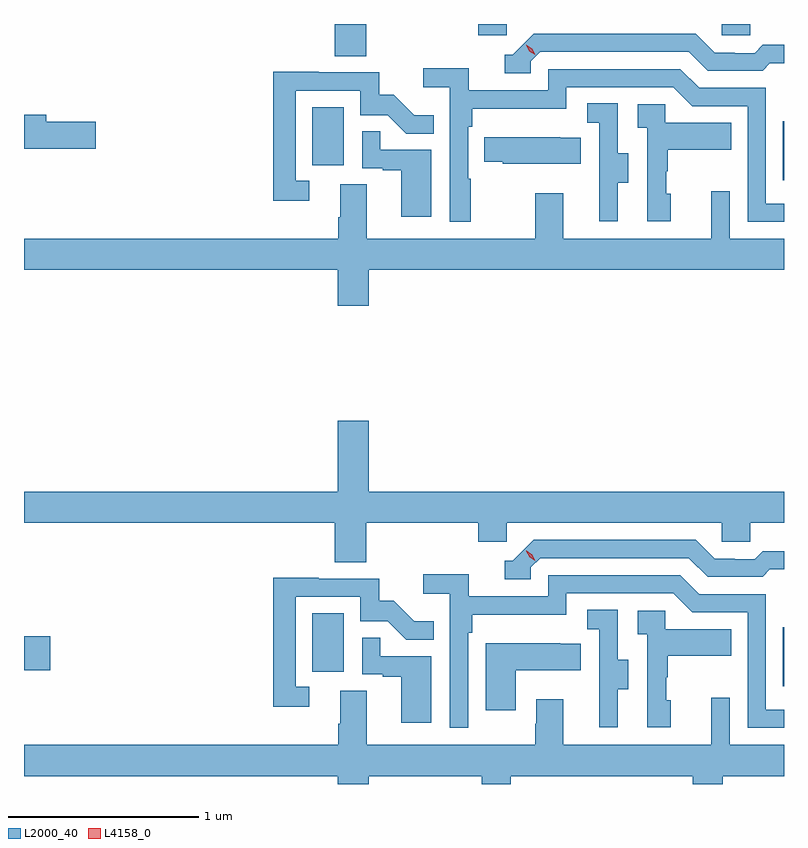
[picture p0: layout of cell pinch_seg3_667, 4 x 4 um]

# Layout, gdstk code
import gdstk
lib = gdstk.Library(unit=1e-6, precision=1e-09)
def R(c, l, rs):  # rectangles x0, y0, x1, y1
    for r in rs: c.add(gdstk.rectangle(r[:2], r[2:], *l))
def P(c, l, *ps):  # polygons
    for p in ps: c.add(gdstk.Polygon(p, *l))
L2000_40 = (2000, 40)
L4158_0 = (4158, 0)

pinch_seg3_667 = lib.new_cell('pinch_seg3_667')
R(pinch_seg3_667, L2000_40, [(1144.374,670.752,1144.38,671.062), (1141.898,670.83,1142.062,671.137), (1140.38,670.838,1140.517,671.015), (1144.374,673.416,1144.38,673.726), (1141.898,673.494,1142.062,673.801), (1142.015,674.068,1142.18,674.238), (1142.771,674.178,1142.922,674.238), (1144.053,674.178,1144.203,674.238)])
P(pinch_seg3_667, L2000_40, [(1143.048,674.043),(1143.096,674.091),(1143.879,674.091),(1143.978,673.992),(1144.267,673.992),(1144.306,674.031),(1144.38,674.031),(1144.38,674.128),(1144.267,674.128),(1144.225,674.085),(1144.122,674.085),(1144.122,674.088),(1144.015,674.088),(1143.916,674.187),(1143.063,674.187),(1142.952,674.076),(1142.909,674.076),(1142.909,673.98),(1143.048,673.98)],
  [(1142.731,673.424),(1142.718,673.424),(1142.718,673.697),(1142.738,673.697),(1142.738,673.793),(1143.234,673.793),(1143.234,673.905),(1143.798,673.905),(1143.897,673.806),(1144.188,673.806),(1144.188,673.197),(1144.38,673.197),(1144.38,673.293),(1144.284,673.293),(1144.284,673.902),(1143.934,673.902),(1143.835,674.001),(1143.138,674.001),(1143.138,673.89),(1142.72,673.89),(1142.72,674.006),(1142.481,674.006),(1142.481,673.904),(1142.622,673.904),(1142.622,673.197),(1142.731,673.197)],
  [(1141.882,673.413),(1141.809,673.413),(1141.809,673.887),(1142.151,673.887),(1142.151,673.758),(1142.295,673.758),(1142.393,673.66),(1142.537,673.66),(1142.537,673.759),(1142.433,673.759),(1142.326,673.866),(1142.25,673.866),(1142.25,673.983),(1141.931,673.983),(1141.931,673.988),(1141.693,673.988),(1141.693,673.308),(1141.882,673.308)],
  [(1143.505,673.402),(1143.559,673.402),(1143.559,673.557),(1143.504,673.557),(1143.504,673.82),(1143.345,673.82),(1143.345,673.717),(1143.408,673.717),(1143.408,673.413),(1143.407,673.413),(1143.407,673.2),(1143.505,673.2)],
  [(1143.784,673.344),(1143.759,673.344),(1143.759,673.463),(1143.769,673.463),(1143.769,673.577),(1144.103,673.577),(1144.103,673.717),(1143.756,673.717),(1143.756,673.815),(1143.609,673.815),(1143.609,673.691),(1143.66,673.691),(1143.66,673.2),(1143.784,673.2)],
  [(1140.757,673.724),(1140.496,673.724),(1140.496,673.76),(1140.38,673.76),(1140.38,673.582),(1140.757,673.582)],
  [(1142.524,673.575),(1142.255,673.575),(1142.255,673.673),(1142.16,673.673),(1142.16,673.479),(1142.267,673.479),(1142.267,673.467),(1142.366,673.467),(1142.366,673.224),(1142.524,673.224)],
  [(1143.311,673.639),(1143.203,673.639),(1143.203,673.642),(1142.803,673.642),(1142.803,673.513),(1142.901,673.513),(1142.901,673.502),(1143.311,673.502)],
  [(1142.194,672.944),(1144.38,672.944),(1144.38,673.108),(1144.095,673.108),(1144.095,673.357),(1143.998,673.357),(1143.998,673.108),(1143.217,673.108),(1143.217,673.348),(1143.07,673.348),(1143.07,673.108),(1142.185,673.108),(1142.185,673.394),(1142.045,673.394),(1142.045,673.22),(1142.033,673.22),(1142.033,673.108),(1140.38,673.108),(1140.38,672.944),(1142.03,672.944),(1142.03,672.756),(1142.194,672.756)],
  [(1142.18,671.612),(1142.771,671.612),(1142.771,671.514),(1142.922,671.514),(1142.922,671.612),(1144.053,671.612),(1144.053,671.514),(1144.203,671.514),(1144.203,671.612),(1144.38,671.612),(1144.38,671.776),(1142.194,671.776),(1142.194,672.151),(1142.03,672.151),(1142.03,671.776),(1140.38,671.776),(1140.38,671.612),(1142.015,671.612),(1142.015,671.404),(1142.18,671.404)],
  [(1143.048,671.379),(1143.096,671.427),(1143.879,671.427),(1143.978,671.328),(1144.267,671.328),(1144.306,671.367),(1144.38,671.367),(1144.38,671.464),(1144.267,671.464),(1144.225,671.421),(1144.122,671.421),(1144.122,671.424),(1144.015,671.424),(1143.916,671.523),(1143.063,671.523),(1142.952,671.412),(1142.909,671.412),(1142.909,671.316),(1143.048,671.316)],
  [(1142.718,671.033),(1142.738,671.033),(1142.738,671.129),(1143.234,671.129),(1143.234,671.241),(1143.798,671.241),(1143.897,671.142),(1144.188,671.142),(1144.188,670.533),(1144.38,670.533),(1144.38,670.629),(1144.284,670.629),(1144.284,671.238),(1143.934,671.238),(1143.835,671.337),(1143.138,671.337),(1143.138,671.226),(1142.72,671.226),(1142.72,671.342),(1142.481,671.342),(1142.481,671.24),(1142.622,671.24),(1142.622,670.533),(1142.718,670.533)],
  [(1141.882,670.749),(1141.809,670.749),(1141.809,671.223),(1142.151,671.223),(1142.151,671.094),(1142.295,671.094),(1142.393,670.996),(1142.537,670.996),(1142.537,671.095),(1142.433,671.095),(1142.326,671.202),(1142.25,671.202),(1142.25,671.319),(1141.931,671.319),(1141.931,671.324),(1141.693,671.324),(1141.693,670.644),(1141.882,670.644)],
  [(1143.505,670.738),(1143.559,670.738),(1143.559,670.893),(1143.504,670.893),(1143.504,671.156),(1143.345,671.156),(1143.345,671.053),(1143.408,671.053),(1143.408,670.749),(1143.407,670.749),(1143.407,670.536),(1143.505,670.536)],
  [(1143.784,670.68),(1143.759,670.68),(1143.759,670.799),(1143.769,670.799),(1143.769,670.913),(1144.103,670.913),(1144.103,671.053),(1143.756,671.053),(1143.756,671.151),(1143.609,671.151),(1143.609,671.027),(1143.66,671.027),(1143.66,670.536),(1143.784,670.536)],
  [(1142.524,670.911),(1142.255,670.911),(1142.255,671.009),(1142.16,671.009),(1142.16,670.815),(1142.267,670.815),(1142.267,670.803),(1142.366,670.803),(1142.366,670.56),(1142.524,670.56)],
  [(1142.968,670.838),(1143.311,670.838),(1143.311,670.975),(1143.203,670.975),(1143.203,670.978),(1142.81,670.978),(1142.81,670.626),(1142.968,670.626)],
  [(1142.194,670.28),(1142.789,670.28),(1142.789,670.238),(1142.941,670.238),(1142.941,670.28),(1143.901,670.28),(1143.901,670.238),(1144.058,670.238),(1144.058,670.28),(1144.38,670.28),(1144.38,670.444),(1144.095,670.444),(1144.095,670.693),(1143.998,670.693),(1143.998,670.444),(1143.217,670.444),(1143.217,670.684),(1143.077,670.684),(1143.077,670.556),(1143.07,670.556),(1143.07,670.444),(1142.185,670.444),(1142.185,670.73),(1142.045,670.73),(1142.045,670.556),(1142.033,670.556),(1142.033,670.444),(1140.38,670.444),(1140.38,670.28),(1142.03,670.28),(1142.03,670.238),(1142.194,670.238)])
P(pinch_seg3_667, L4158_0, [(1143.071,671.413),(1143.041,671.432),(1143.024,671.464),(1143.024,671.465),(1143.025,671.465),(1143.055,671.445),(1143.072,671.413),(1143.072,671.413)],
  [(1143.071,674.076),(1143.04,674.095),(1143.024,674.128),(1143.024,674.128),(1143.024,674.128),(1143.055,674.109),(1143.071,674.076),(1143.071,674.076)])

lib.write_gds('pinch_seg3_667.gds')
